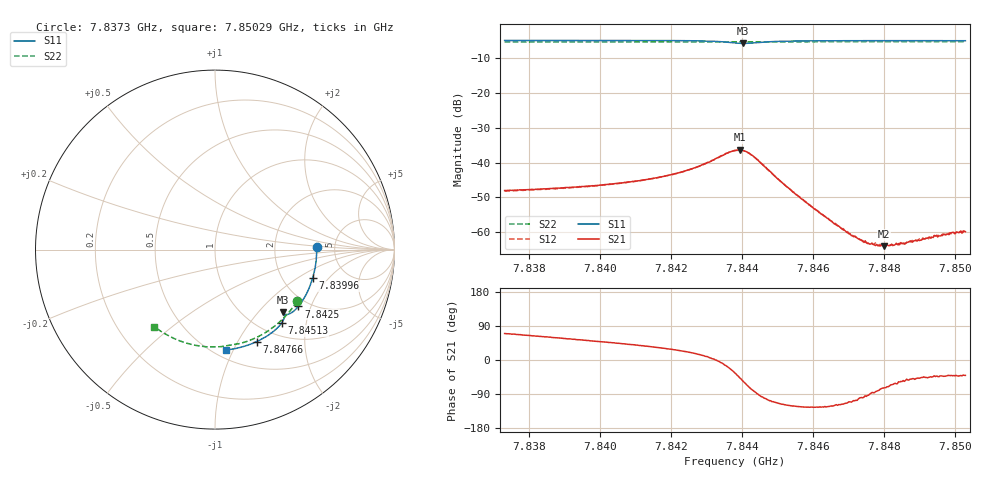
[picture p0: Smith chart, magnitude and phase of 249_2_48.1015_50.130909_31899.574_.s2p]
#  HZ  S  RI  R  50.00
! Rohde & Schwarz Vector Network Analyzer
! Rohde-Schwarz,ZNB20-2Port,1311601062101988,3.16
! Created: UTC 12/23/2023, 3:59:34 AM
! freq[Hz]  re:S11  im:S11  re:S21  im:S21  re:S12  im:S12  re:S22  im:S22
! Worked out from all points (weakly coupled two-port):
!   401 points, 7.8373 GHz to 7.85029 GHz, reference 50 ohm
!   highest |S21| = -36.31 dB at 7.84393 GHz (marker M1); lowest = -64.0 dB at 7.84799 GHz (marker M2)
!   lowest |S11| = -5.8 dB at 7.84402 GHz (marker M3), VSWR 3.12, Z = 71.9 - j68.5 ohm
!   |S11| at or under -10 dB: nowhere
!   |S22| runs from -5.4 to -5.3 dB; largest |S21 - S12| = 0.00031
!   S11 on the Smith chart (normalised r, x): 7.8373 GHz: 3.60, +0.17; 7.83996 GHz: 2.91, -1.37; 7.8425 GHz: 1.77, -1.64; 7.84513 GHz: 1.24, -1.45; 7.84766 GHz: 0.80, -1.20; 7.85029 GHz: 0.57, -0.94
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7.8373e9  0.5662 0.0161  0.00137 0.00373  0.00136 0.00366  0.4565 -0.2878
7.839476e9  0.5524 -0.128  0.00274 0.00362  0.00271 0.00358  0.3587 -0.4043
7.839964e9  0.544 -0.1595  0.00313 0.00355  0.00308 0.00354  0.3325 -0.4264
7.841653e9  0.4992 -0.2662  0.00521 0.00332  0.00516 0.00331  0.2323 -0.489
7.842497e9  0.4645 -0.3166  0.00742 0.00276  0.00738 0.00278  0.1772 -0.5115
7.843309e9  0.4156 -0.3572  0.0118 -0.000552  0.0118 -0.000472  0.1221 -0.5265
7.843797e9  0.3803 -0.3581  0.0123 -0.00846  0.0124 -0.00842  0.0895 -0.5316
7.843926e9  0.3764 -0.3532  0.0105 -0.0111  0.0104 -0.0109  0.0811 -0.5327
7.844024e9  0.3766 -0.3503  0.00837 -0.0124  0.00841 -0.0123  0.0751 -0.5337
7.844349e9  0.3857 -0.3556  0.00133 -0.0118  0.00126 -0.0118  0.0542 -0.5375
7.845128e9  0.372 -0.4078  -0.00233 -0.0046  -0.0023 -0.00462  -5.2e-05 -0.5427
7.845973e9  0.3299 -0.4522  -0.0013 -0.00191  -0.00129 -0.00191  -0.0599 -0.5401
7.847077e9  0.2667 -0.4951  -0.000326 -0.000835  -0.000287 -0.000836  -0.1363 -0.5271
7.847467e9  0.2432 -0.5073  -5.9e-05 -0.000753  -8.66e-05 -0.000718  -0.1626 -0.5198
7.847662e9  0.2314 -0.5131  5.25e-05 -0.000687  3.5e-05 -0.000701  -0.1757 -0.5156
7.847987e9  0.2114 -0.5218  0.000176 -0.000608  0.000182 -0.000615  -0.1974 -0.5081
7.848149e9  0.2012 -0.5258  0.000234 -0.000601  0.000263 -0.000599  -0.2079 -0.5039
7.848571e9  0.1747 -0.5353  0.000387 -0.000582  0.000369 -0.000565  -0.235 -0.4921
7.848734e9  0.1642 -0.5385  0.000467 -0.000566  0.000469 -0.000591  -0.2452 -0.487
7.848896e9  0.1539 -0.5416  0.000507 -0.000585  0.000513 -0.000569  -0.2555 -0.482
7.849416e9  0.1201 -0.5499  0.000674 -0.0006  0.000651 -0.000608  -0.2872 -0.464
7.850293e9  0.0624 -0.5591  0.000775 -0.000664  0.000796 -0.000695  -0.3377 -0.4293
